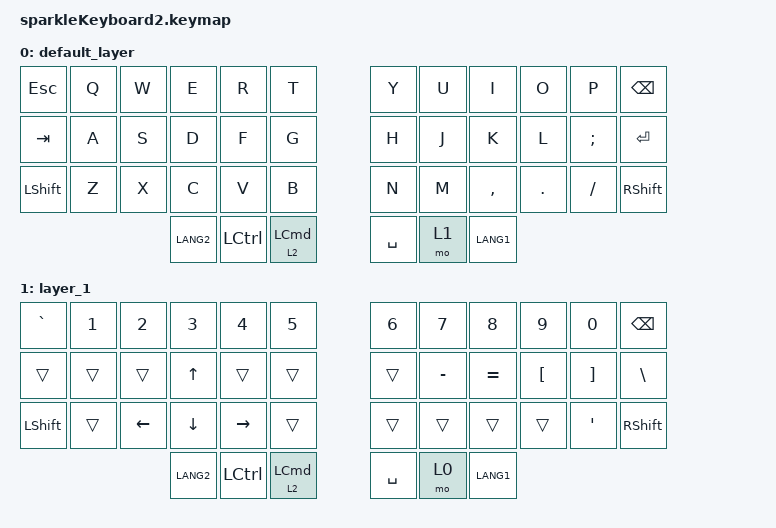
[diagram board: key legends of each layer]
#include <behaviors.dtsi>
#include <dt-bindings/zmk/bt.h>
#include <dt-bindings/zmk/keys.h>

 / {
    keymap {
        compatible = "zmk,keymap";

        default_layer {
            bindings = <
&kp ESC         &kp Q             &kp W               &kp E      &kp R      &kp T      &kp Y               &kp U                &kp I      &kp O      &kp P          &kp BACKSPACE
&kp TAB         &kp A             &kp S               &kp D      &kp F      &kp G      &kp H               &kp J                &kp K      &kp L      &kp SEMICOLON  &kp ENTER
&kp LEFT_SHIFT  &kp Z             &kp X               &kp C      &kp V      &kp B      &kp N               &kp M                &kp COMMA  &kp DOT    &kp SLASH      &kp RIGHT_SHIFT
&kp LANG2       &kp LEFT_CONTROL  &lt 2 LEFT_COMMAND  &kp SPACE  &mo 1      &kp LANG1
            >;
        };

        layer_1 {
            bindings = <
&kp GRAVE       &kp NUMBER_1  &kp NUMBER_2    &kp NUMBER_3    &kp NUMBER_4     &kp N5  &kp NUMBER_6  &kp N7     &kp N8     &kp N9            &kp N0             &kp BACKSPACE
&trans          &trans        &trans          &kp UP_ARROW    &trans           &trans  &trans        &kp MINUS  &kp EQUAL  &kp LEFT_BRACKET  &kp RIGHT_BRACKET  &kp BACKSLASH
&kp LEFT_SHIFT  &trans        &kp LEFT_ARROW  &kp DOWN_ARROW  &kp RIGHT_ARROW  &trans  &trans        &trans     &trans     &trans            &kp SQT            &kp RIGHT_SHIFT
&kp LANG2       &kp LEFT_CONTROL  &lt 2 LEFT_COMMAND  &kp SPACE  &mo 0      &kp LANG1
            >;
        };
    };
};
